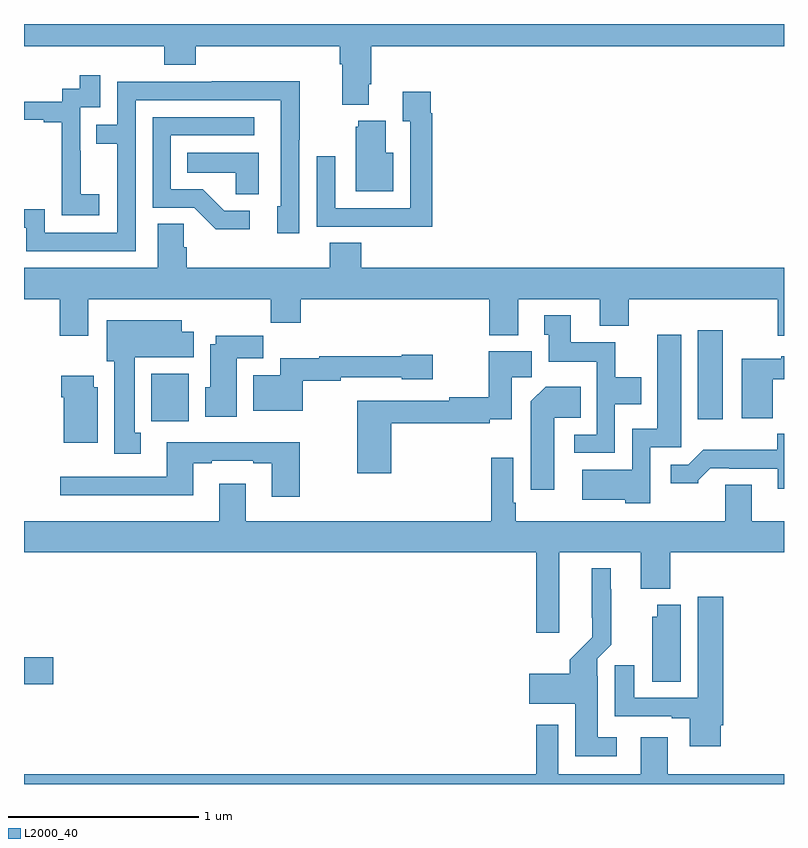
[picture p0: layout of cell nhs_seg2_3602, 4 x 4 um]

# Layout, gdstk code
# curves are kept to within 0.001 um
import gdstk
lib = gdstk.Library(unit=1e-6, precision=1e-09)
def R(c, l, rs):  # rectangles x0, y0, x1, y1
    for r in rs: c.add(gdstk.rectangle(r[:2], r[2:], *l))
def P(c, l, *ps):  # polygons
    for p in ps: c.add(gdstk.Polygon(p, *l))
L2000_40 = (2000, 40)

nhs_seg2_3602 = lib.new_cell('nhs_seg2_3602')
R(nhs_seg2_3602, L2000_40, [(301,596.326,301.153,596.468), (301.671,597.708,301.867,597.958), (304.547,597.72,304.678,598.189)])
P(nhs_seg2_3602, L2000_40, [(302.815,599.482),(302.828,599.482),(302.828,599.684),(305,599.684),(305,599.8),(301,599.8),(301,599.684),(301.739,599.684),(301.739,599.585),(301.904,599.585),(301.904,599.684),(302.663,599.684),(302.663,599.588),(302.675,599.588),(302.675,599.375),(302.815,599.375)],
  [(301.396,598.903),(301.298,598.903),(301.298,599.132),(301.296,599.132),(301.296,599.361),(301.401,599.361),(301.401,599.53),(301.293,599.53),(301.293,599.46),(301.2,599.46),(301.2,599.391),(301,599.391),(301,599.295),(301.103,599.295),(301.103,599.283),(301.199,599.283),(301.199,598.999),(301.198,598.999),(301.198,598.793),(301.396,598.793)],
  [(301.587,599.4),(302.352,599.4),(302.352,598.842),(302.333,598.842),(302.333,598.698),(302.448,598.698),(302.448,599.191),(302.451,599.191),(302.451,599.498),(301.987,599.498),(301.987,599.496),(301.491,599.496),(301.491,599.271),(301.381,599.271),(301.381,599.17),(301.491,599.17),(301.491,598.701),(301.11,598.701),(301.11,598.824),(301,598.824),(301,598.728),(301.013,598.728),(301.013,598.605),(301.587,598.605)],
  [(303.149,599.33),(303.142,599.33),(303.142,599.443),(302.993,599.443),(302.993,599.287),(303.033,599.287),(303.033,598.83),(302.637,598.83),(302.637,599.104),(302.541,599.104),(302.541,598.734),(302.857,598.734),(302.857,598.733),(303.149,598.733)],
  [(302.188,598.818),(302.053,598.818),(301.942,598.929),(301.773,598.929),(301.773,599.214),(302.212,599.214),(302.212,599.31),(301.677,599.31),(301.677,598.833),(301.896,598.833),(302.009,598.721),(302.188,598.721)],
  [(302.944,599.122),(302.905,599.122),(302.905,599.29),(302.759,599.29),(302.759,599.259),(302.747,599.259),(302.747,598.919),(302.944,598.919)],
  [(302.236,599.122),(301.858,599.122),(301.858,599.018),(302.115,599.018),(302.115,598.903),(302.236,598.903)],
  [(302.609,598.649),(302.609,598.516),(301.856,598.516),(301.856,598.625),(301.842,598.625),(301.842,598.748),(301.703,598.748),(301.703,598.516),(301,598.516),(301,598.352),(301.187,598.352),(301.187,598.158),(301.339,598.158),(301.339,598.352),(302.299,598.352),(302.299,598.228),(302.456,598.228),(302.456,598.352),(303.449,598.352),(303.449,598.163),(303.601,598.163),(303.601,598.352),(304.031,598.352),(304.031,598.211),(304.184,598.211),(304.184,598.352),(304.967,598.352),(304.967,598.158),(305,598.158),(305,598.516),(302.774,598.516),(302.774,598.649)],
  [(304.11,597.8),(304.249,597.8),(304.249,597.94),(304.113,597.94),(304.113,598.126),(303.877,598.126),(303.877,598.267),(303.737,598.267),(303.737,598.164),(303.761,598.164),(303.761,598.022),(304.014,598.022),(304.014,597.639),(303.897,597.639),(303.897,597.543),(304.11,597.543)],
  [(301.615,597.649),(301.582,597.649),(301.582,598.046),(301.894,598.046),(301.894,598.18),(301.831,598.18),(301.831,598.24),(301.436,598.24),(301.436,598.026),(301.475,598.026),(301.475,597.537),(301.615,597.537)],
  [(304.296,597.573),(304.459,597.573),(304.459,598.165),(304.334,598.165),(304.334,597.67),(304.2,597.67),(304.2,597.454),(303.939,597.454),(303.939,597.296),(304.164,597.296),(304.164,597.278),(304.296,597.278)],
  [(302.119,598.04),(302.258,598.04),(302.258,598.158),(302.009,598.158),(302.009,598.114),(301.979,598.114),(301.979,597.888),(301.955,597.888),(301.955,597.734),(302.119,597.734)],
  [(302.933,597.7),(303.452,597.7),(303.452,597.719),(303.568,597.719),(303.568,597.94),(303.673,597.94),(303.673,598.078),(303.446,598.078),(303.446,597.836),(303.238,597.836),(303.238,597.816),(302.755,597.816),(302.755,597.435),(302.933,597.435)],
  [(302.466,597.922),(302.666,597.922),(302.666,597.942),(302.988,597.942),(302.988,597.929),(303.151,597.929),(303.151,598.059),(302.988,598.059),(302.988,598.051),(302.554,598.051),(302.554,598.04),(302.348,598.04),(302.348,597.952),(302.207,597.952),(302.207,597.764),(302.466,597.764)],
  [(304.94,597.929),(305,597.929),(305,598.051),(304.986,598.051),(304.986,598.039),(304.778,598.039),(304.778,597.725),(304.94,597.725)],
  [(301.387,597.888),(301.366,597.888),(301.366,597.949),(301.196,597.949),(301.196,597.836),(301.208,597.836),(301.208,597.596),(301.387,597.596)],
  [(303.79,597.728),(303.929,597.728),(303.929,597.892),(303.746,597.892),(303.668,597.814),(303.668,597.348),(303.79,597.348)],
  [(305,597.643),(304.965,597.643),(304.965,597.559),(304.576,597.559),(304.497,597.48),(304.404,597.48),(304.404,597.383),(304.548,597.383),(304.548,597.398),(304.612,597.462),(304.711,597.462),(304.711,597.459),(304.967,597.459),(304.967,597.354),(305,597.354)],
  [(302.451,597.598),(301.751,597.598),(301.751,597.417),(301.191,597.417),(301.191,597.32),(301.891,597.32),(301.891,597.489),(301.987,597.489),(301.987,597.501),(302.207,597.501),(302.207,597.489),(302.303,597.489),(302.303,597.312),(302.451,597.312)],
  [(303.817,597.02),(304.247,597.02),(304.247,596.828),(304.4,596.828),(304.4,597.02),(305,597.02),(305,597.184),(304.831,597.184),(304.831,597.374),(304.691,597.374),(304.691,597.184),(303.589,597.184),(303.589,597.28),(303.576,597.28),(303.576,597.517),(303.46,597.517),(303.46,597.184),(302.167,597.184),(302.167,597.379),(302.027,597.379),(302.027,597.184),(301,597.184),(301,597.02),(303.695,597.02),(303.695,596.595),(303.817,596.595)],
  [(304.12,596.047),(304.021,596.047),(304.021,596.366),(304.017,596.366),(304.017,596.46),(304.091,596.534),(304.091,596.825),(304.087,596.825),(304.087,596.935),(303.989,596.935),(303.99,596.572),(303.872,596.454),(303.872,596.38),(303.66,596.38),(303.66,596.222),(303.902,596.222),(303.902,595.946),(304.12,595.946)],
  [(304.666,596.11),(304.679,596.11),(304.679,596.785),(304.547,596.785),(304.547,596.253),(304.213,596.253),(304.213,596.425),(304.109,596.425),(304.109,596.157),(304.409,596.157),(304.409,596.145),(304.505,596.145),(304.505,595.998),(304.666,595.998)],
  [(304.456,596.743),(304.334,596.743),(304.334,596.679),(304.307,596.679),(304.307,596.338),(304.456,596.338)],
  [(305,595.852),(304.387,595.852),(304.387,596.047),(304.247,596.047),(304.247,595.852),(303.813,595.852),(303.813,596.113),(303.697,596.113),(303.697,595.852),(301,595.852),(301,595.8),(305,595.8)])

lib.write_gds('nhs_seg2_3602.gds')
